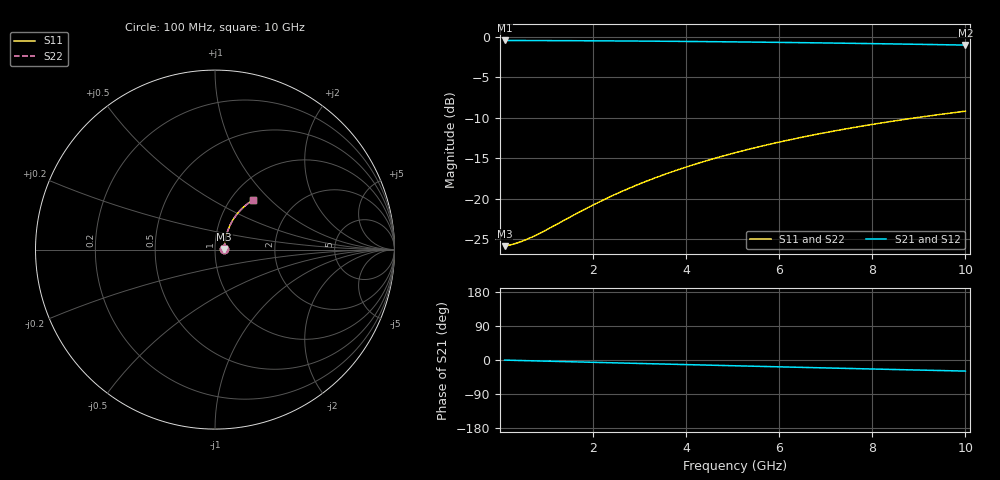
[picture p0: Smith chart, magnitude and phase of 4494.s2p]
# Hz S RI R 50.00
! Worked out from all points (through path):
!   100 points, 100 MHz to 10 GHz, reference 50 ohm
!   highest |S21| = -0.45 dB at 100 MHz (marker M1); lowest = -1.0 dB at 10 GHz (marker M2)
!   group delay of S21, straight-line fit = 8.15 ps
!   lowest |S11| = -25.8 dB at 100 MHz (marker M3), VSWR 1.11, Z = 55.4 + j0.387 ohm
!   |S11| at or under -10 dB: start of sweep to 8.935 GHz
!   |S22| runs from -25.8 to -9.2 dB; largest |S21 - S12| = 0
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1e8  0.0509 0.00349  0.9491 -0.00507  0.9491 -0.00507  0.0509 0.00349
3e8  0.0516 0.0104  0.9484 -0.0152  0.9484 -0.0152  0.0516 0.0104
4e8  0.0519 0.0139  0.9481 -0.0202  0.9481 -0.0202  0.0519 0.0139
5e8  0.0522 0.0174  0.9477 -0.0253  0.9477 -0.0253  0.0522 0.0174
7e8  0.0529 0.0243  0.947 -0.0354  0.947 -0.0354  0.0529 0.0243
1e9  0.0542 0.0347  0.9457 -0.0505  0.9457 -0.0505  0.0542 0.0347
1.8e9  0.0589 0.062  0.9406 -0.0904  0.9406 -0.0904  0.0589 0.062
2.2e9  0.0621 0.0754  0.9373 -0.1102  0.9373 -0.1102  0.0621 0.0754
2.6e9  0.0658 0.0887  0.9333 -0.1298  0.9333 -0.1298  0.0658 0.0887
3e9  0.07 0.1018  0.9288 -0.1492  0.9288 -0.1492  0.07 0.1018
3.4e9  0.0747 0.1146  0.9237 -0.1683  0.9237 -0.1683  0.0747 0.1146
3.8e9  0.08 0.1272  0.9181 -0.1873  0.9181 -0.1873  0.08 0.1272
4.2e9  0.0857 0.1394  0.912 -0.2059  0.912 -0.2059  0.0857 0.1394
4.6e9  0.0919 0.1514  0.9053 -0.2242  0.9053 -0.2242  0.0919 0.1514
5.1e9  0.1004 0.166  0.8962 -0.2467  0.8962 -0.2467  0.1004 0.166
5.5e9  0.1076 0.1772  0.8885 -0.2643  0.8885 -0.2643  0.1076 0.1772
5.9e9  0.1152 0.1881  0.8802 -0.2815  0.8802 -0.2815  0.1152 0.1881
6.7e9  0.1316 0.2086  0.8625 -0.3148  0.8625 -0.3148  0.1316 0.2086
7.5e9  0.1494 0.2275  0.8433 -0.3465  0.8433 -0.3465  0.1494 0.2275
8.4e9  0.1708 0.2468  0.82 -0.3802  0.82 -0.3802  0.1708 0.2468
9.2e9  0.1908 0.262  0.7981 -0.4082  0.7981 -0.4082  0.1908 0.262
1e10  0.2116 0.2753  0.7752 -0.4345  0.7752 -0.4345  0.2116 0.2753
